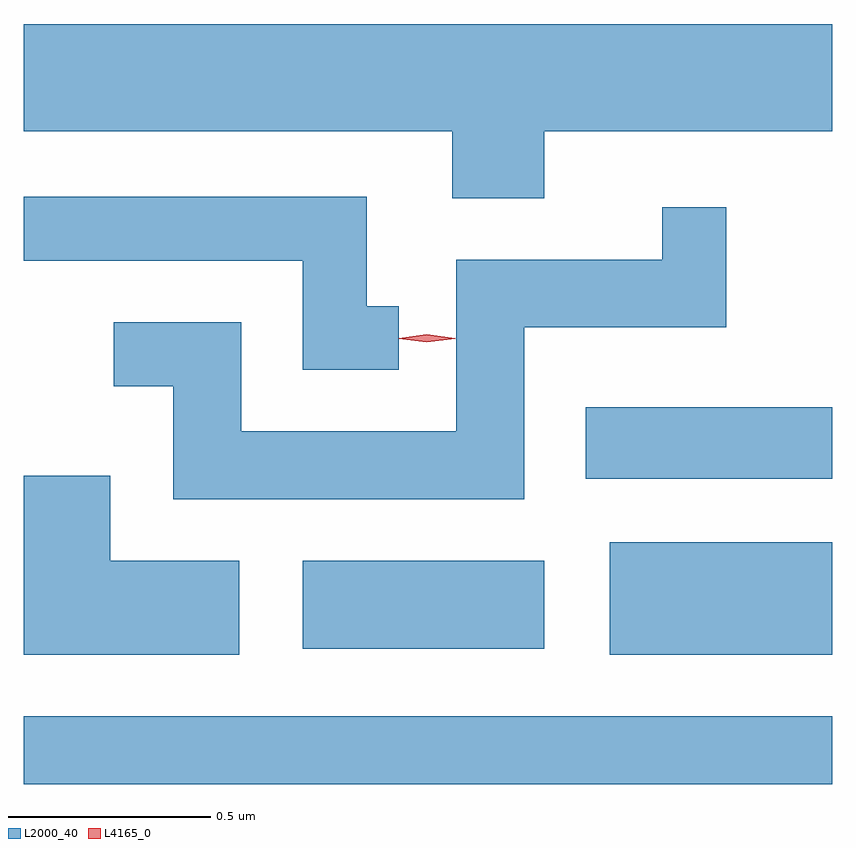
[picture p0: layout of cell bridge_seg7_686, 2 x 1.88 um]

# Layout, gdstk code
import gdstk
lib = gdstk.Library(unit=1e-6, precision=1e-09)
def R(c, l, rs):  # rectangles x0, y0, x1, y1
    for r in rs: c.add(gdstk.rectangle(r[:2], r[2:], *l))
def P(c, l, *ps):  # polygons
    for p in ps: c.add(gdstk.Polygon(p, *l))
L2000_40 = (2000, 40)
L4165_0 = (4165, 0)

bridge_seg7_686 = lib.new_cell('bridge_seg7_686')
R(bridge_seg7_686, L2000_40, [(979.781,1730.461,981.781,1730.629), (981.231,1730.781,981.781,1731.059), (980.471,1730.796,981.069,1731.014), (981.171,1731.216,981.781,1731.394)])
P(bridge_seg7_686, L2000_40, [(981.069,1732.076),(981.781,1732.076),(981.781,1732.342),(979.781,1732.342),(979.781,1732.076),(980.841,1732.076),(980.841,1731.911),(981.069,1731.911)],
  [(980.708,1731.644),(980.629,1731.644),(980.629,1731.914),(979.781,1731.914),(979.781,1731.756),(980.471,1731.756),(980.471,1731.486),(980.708,1731.486)],
  [(981.019,1731.591),(981.519,1731.591),(981.519,1731.888),(981.361,1731.888),(981.361,1731.759),(980.851,1731.759),(980.851,1731.334),(980.319,1731.334),(980.319,1731.604),(980.003,1731.604),(980.003,1731.446),(980.151,1731.446),(980.151,1731.166),(981.019,1731.166)],
  [(980.314,1731.014),(979.994,1731.014),(979.994,1731.224),(979.781,1731.224),(979.781,1730.781),(980.314,1730.781)])
P(bridge_seg7_686, L4165_0, [(980.778,1731.554),(980.709,1731.563),(980.709,1731.564),(980.709,1731.564),(980.778,1731.574),(980.848,1731.564),(980.848,1731.564),(980.848,1731.563)])

lib.write_gds('bridge_seg7_686.gds')
